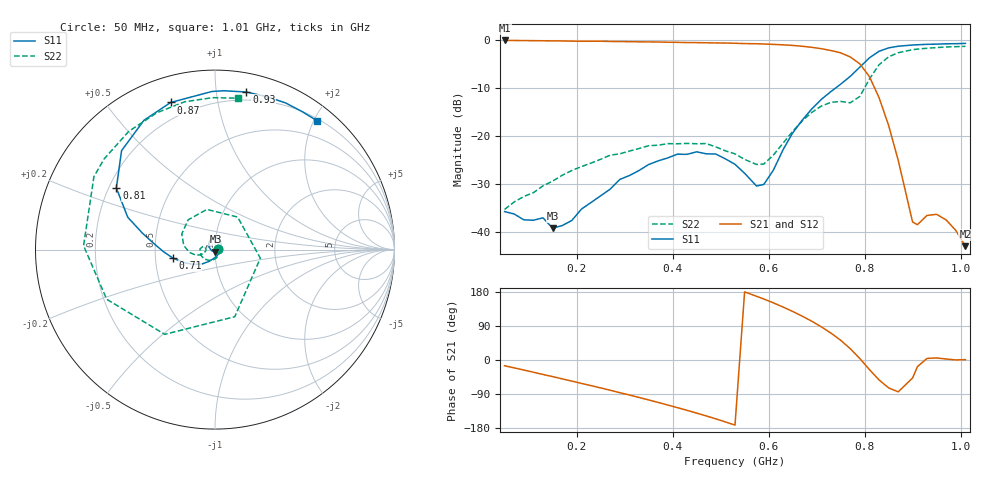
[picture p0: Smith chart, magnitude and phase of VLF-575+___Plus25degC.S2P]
! Mini-Circuits
! S2P DATA File Format
! Type: Coaxial SMA Connectorized Low Pass Filter
! Model: VLF-575+
! Note: All S Parameters are in dB deg format
! TEST CONDITIONS: INPUT POWER = 0dBm @Temperature = +25degC
! 401 Frequency points
# MHz S DB R 50
!  FREQ  dB(S11)  PHS(S11)  dB(S21)  PHS(S21)  dB(S12)  PHS(S12)  dB(S22)  PHS(S22)
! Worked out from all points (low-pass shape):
!   49 points, 50 MHz to 1.01 GHz, reference 50 ohm
!   highest |S21| = -0.15 dB at 50 MHz (marker M1); lowest = -42.9 dB at 1.01 GHz (marker M2)
!   |S21| within 3 dB of the highest: start of sweep to 760.2 MHz
!   lowest |S11| = -39.2 dB at 150 MHz (marker M3), VSWR 1.02, Z = 50.2 - j1.08 ohm
!   |S11| at or under -10 dB: start of sweep to 740.1 MHz
!   |S22| runs from -35.3 to -1.4 dB; largest |S21 - S12| = 0.0054
!   S11 on the Smith chart (normalised r, x): 50 MHz: 1.03, +0.01; 710 MHz: 0.62, -0.06; 810 MHz: 0.23, +0.27; 870 MHz: 0.12, +0.74; 930 MHz: 0.14, +1.21; 1.01 GHz: 0.23, +2.04
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50  -35.73 16.4  -0.15 -15.2  -0.14 -15.1  -35.28 11.2
150  -39.18 -78.5  -0.24 -43.8  -0.23 -44.1  -29.40 -55.4
210  -35.22 -151.5  -0.32 -61.7  -0.31 -61.7  -26.38 -81.7
290  -29.04 159.0  -0.39 -86.3  -0.38 -86.1  -23.72 -114.5
370  -25.18 123.5  -0.47 -112.0  -0.48 -112.1  -21.93 -146.5
450  -23.30 90.9  -0.60 -140.1  -0.59 -140.1  -21.63 -175.8
530  -25.90 49.2  -0.74 -171.7  -0.74 -171.7  -23.73 164.2
590  -30.09 -48.9  -0.89 160.9  -0.89 160.7  -25.84 -173.8
630  -22.89 -115.3  -1.06 139.7  -1.06 139.9  -21.51 -159.9
690  -14.37 -158.1  -1.58 102.3  -1.58 102.4  -15.12 172.6
710  -12.39 -168.8  -1.87 87.4  -1.86 87.5  -13.78 154.8
750  -9.25 174.1  -2.72 52.3  -2.75 52.3  -12.83 101.4
770  -7.63 167.2  -3.57 30.1  -3.55 30.2  -13.12 55.2
790  -5.70 159.6  -5.01 3.9  -4.99 4.1  -11.80 -10.7
810  -3.77 148.0  -7.66 -25.2  -7.68 -25.1  -8.18 -73.6
830  -2.40 133.4  -12.01 -52.5  -12.00 -52.6  -5.21 -120.7
850  -1.70 118.8  -17.81 -73.5  -17.83 -73.4  -3.56 -155.4
870  -1.35 106.8  -25.04 -84.1  -25.06 -84.3  -2.70 178.3
900  -1.10 91.1  -37.89 -47.4  -37.87 -47.4  -2.08 149.0
930  -0.96 78.7  -36.53 4.1  -36.50 4.0  -1.77 126.1
970  -0.85 64.3  -37.46 2.6  -37.39 2.6  -1.51 101.6
1010  -0.77 51.8  -42.92 1.0  -42.91 1.1  -1.38 81.4
